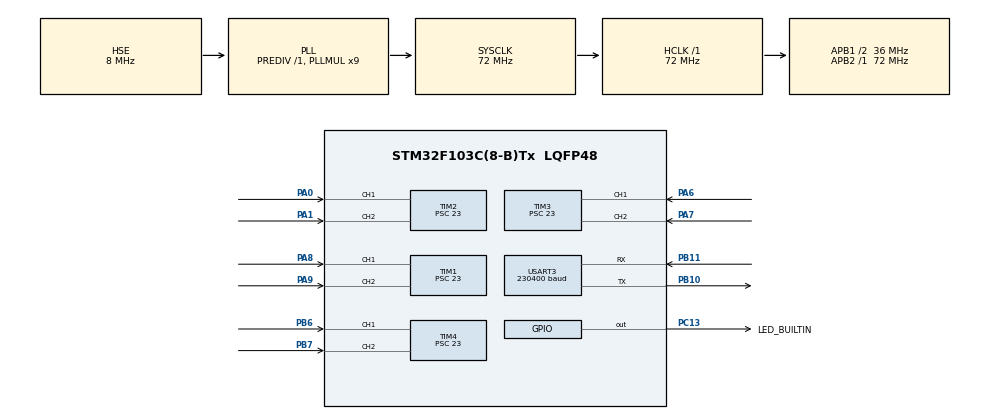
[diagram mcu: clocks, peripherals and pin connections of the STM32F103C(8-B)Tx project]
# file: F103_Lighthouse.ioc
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IWDG.Prescaler=IWDG_PRESCALER_64
IWDG.Reload=625
Mcu.Family=STM32F1
Mcu.Name=STM32F103C(8-B)Tx
Mcu.Package=LQFP48
NVIC.PriorityGroup=NVIC_PRIORITYGROUP_3
NVIC.TIM1_CC_IRQn=true\:1\:0\:true\:false\:false\:true
NVIC.TIM2_IRQn=true\:2\:0\:true\:false\:false\:true
NVIC.TIM3_IRQn=true\:3\:0\:true\:false\:false\:true
NVIC.TIM4_IRQn=true\:4\:0\:true\:false\:false\:true
NVIC.USART3_IRQn=true\:7\:1\:true\:false\:false\:true
PA0-WKUP.GPIO_PuPd=GPIO_PULLUP
PA0-WKUP.Signal=S_TIM2_CH1_ETR
PA1.GPIO_PuPd=GPIO_PULLUP
PA1.Signal=S_TIM2_CH2
PA13.Mode=Serial_Wire
PA13.Signal=SYS_JTMS-SWDIO
PA14.Mode=Serial_Wire
PA14.Signal=SYS_JTCK-SWCLK
PA6.GPIO_PuPd=GPIO_PULLUP
PA6.Signal=S_TIM3_CH1
PA7.GPIO_PuPd=GPIO_PULLUP
PA7.Signal=S_TIM3_CH2
PA8.GPIO_PuPd=GPIO_PULLUP
PA8.Signal=S_TIM1_CH1
PA9.GPIO_PuPd=GPIO_PULLUP
PA9.Signal=S_TIM1_CH2
PB10.Mode=Asynchronous
PB10.Signal=USART3_TX
PB11.Mode=Asynchronous
PB11.Signal=USART3_RX
PB6.GPIO_PuPd=GPIO_PULLUP
PB6.Signal=S_TIM4_CH1
PB7.GPIO_PuPd=GPIO_PULLUP
PB7.Signal=S_TIM4_CH2
PC13-TAMPER-RTC.GPIO_Label=LED_BUILTIN
PC13-TAMPER-RTC.GPIO_PuPd=GPIO_PULLUP
PC13-TAMPER-RTC.GPIO_Speed=GPIO_SPEED_FREQ_MEDIUM
PC13-TAMPER-RTC.PinState=GPIO_PIN_SET
PC13-TAMPER-RTC.Signal=GPIO_Output
PD0-OSC_IN.Mode=HSE-External-Oscillator
PD0-OSC_IN.Signal=RCC_OSC_IN
PD1-OSC_OUT.Mode=HSE-External-Oscillator
PD1-OSC_OUT.Signal=RCC_OSC_OUT
ProjectManager.HeapSize=0x200
ProjectManager.StackSize=0x400
ProjectManager.TargetToolchain=TrueSTUDIO
RCC.AHBFreq_Value=72000000
RCC.APB1CLKDivider=RCC_HCLK_DIV2
RCC.APB1Freq_Value=36000000
RCC.APB1TimFreq_Value=72000000
RCC.APB2Freq_Value=72000000
RCC.APB2TimFreq_Value=72000000
RCC.HCLKFreq_Value=72000000
RCC.PLLMUL=RCC_PLL_MUL9
RCC.PLLSourceVirtual=RCC_PLLSOURCE_HSE
RCC.SYSCLKFreq_VALUE=72000000
RCC.SYSCLKSource=RCC_SYSCLKSOURCE_PLLCLK
RCC.USBFreq_Value=48000000
RCC.USBPrescaler=RCC_USBCLKSOURCE_PLL_DIV1_5
SH.S_TIM1_CH1.0=TIM1_CH1,Input_Capture1_from_TI1
SH.S_TIM1_CH2.0=TIM1_CH2,Input_Capture2_from_TI2
SH.S_TIM2_CH1_ETR.0=TIM2_CH1,Input_Capture1_from_TI1
SH.S_TIM2_CH2.0=TIM2_CH2,Input_Capture2_from_TI2
SH.S_TIM3_CH1.0=TIM3_CH1,Input_Capture1_from_TI1
SH.S_TIM3_CH2.0=TIM3_CH2,Input_Capture2_from_TI2
SH.S_TIM4_CH1.0=TIM4_CH1,Input_Capture1_from_TI1
SH.S_TIM4_CH2.0=TIM4_CH2,Input_Capture2_from_TI2
TIM1.Channel-Input_Capture1_from_TI1=TIM_CHANNEL_1
TIM1.Channel-Input_Capture2_from_TI2=TIM_CHANNEL_2
TIM1.ICFilter_CH1=15
TIM1.ICFilter_CH2=15
TIM1.ICPolarity_CH1=TIM_INPUTCHANNELPOLARITY_FALLING
TIM1.Period=0xffff
TIM1.Prescaler=23
TIM2.Channel-Input_Capture1_from_TI1=TIM_CHANNEL_1
TIM2.Channel-Input_Capture2_from_TI2=TIM_CHANNEL_2
TIM2.ICFilter_CH1=15
TIM2.ICFilter_CH2=15
TIM2.ICPolarity_CH1=TIM_INPUTCHANNELPOLARITY_FALLING
TIM2.Period=0xFFFF
TIM2.Prescaler=23
TIM3.Channel-Input_Capture1_from_TI1=TIM_CHANNEL_1
TIM3.Channel-Input_Capture2_from_TI2=TIM_CHANNEL_2
TIM3.ICFilter_CH1=15
TIM3.ICFilter_CH2=15
TIM3.ICPolarity_CH1=TIM_INPUTCHANNELPOLARITY_FALLING
TIM3.Period=0xffff
TIM3.Prescaler=23
TIM4.Channel-Input_Capture1_from_TI1=TIM_CHANNEL_1
TIM4.Channel-Input_Capture2_from_TI2=TIM_CHANNEL_2
TIM4.ICFilter_CH1=15
TIM4.ICFilter_CH2=15
TIM4.ICPolarity_CH1=TIM_INPUTCHANNELPOLARITY_FALLING
TIM4.Period=0xffff
TIM4.Prescaler=23
USART3.BaudRate=230400
USART3.VirtualMode=VM_ASYNC
VP_IWDG_VS_IWDG.Mode=IWDG_Activate
VP_TIM1_VS_ClockSourceINT.Mode=Internal
VP_TIM2_VS_ClockSourceINT.Mode=Internal
VP_TIM3_VS_ClockSourceINT.Mode=Internal
VP_TIM4_VS_ClockSourceINT.Mode=Internal
board=custom

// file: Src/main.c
/**
 ******************************************************************************
 * @file           : main.c
 * @brief          : Main program body
 ******************************************************************************
 ** This notice applies to any and all portions of this file
 * that are not between comment pairs USER CODE BEGIN and
 * USER CODE END. Other portions of this file, whether
 * inserted by the user or by software development tools
 * are owned by their respective copyright owners.
 *
 * COPYRIGHT(c) 2019 STMicroelectronics
 *
 * Redistribution and use in source and binary forms, with or without modification,
 * are permitted provided that the following conditions are met:
 *   1. Redistributions of source code must retain the above copyright notice,
 *      this list of conditions and the following disclaimer.
 *   2. Redistributions in binary form must reproduce the above copyright notice,
 *      this list of conditions and the following disclaimer in the documentation
 *      and/or other materials provided with the distribution.
 *   3. Neither the name of STMicroelectronics nor the names of its contributors
 *      may be used to endorse or promote products derived from this software
 *      without specific prior written permission.
 *
 * THIS SOFTWARE IS PROVIDED BY THE COPYRIGHT HOLDERS AND CONTRIBUTORS "AS IS"
 * AND ANY EXPRESS OR IMPLIED WARRANTIES, INCLUDING, BUT NOT LIMITED TO, THE
 * IMPLIED WARRANTIES OF MERCHANTABILITY AND FITNESS FOR A PARTICULAR PURPOSE ARE
 * DISCLAIMED. IN NO EVENT SHALL THE COPYRIGHT HOLDER OR CONTRIBUTORS BE LIABLE
 * FOR ANY DIRECT, INDIRECT, INCIDENTAL, SPECIAL, EXEMPLARY, OR CONSEQUENTIAL
 * DAMAGES (INCLUDING, BUT NOT LIMITED TO, PROCUREMENT OF SUBSTITUTE GOODS OR
 * SERVICES; LOSS OF USE, DATA, OR PROFITS; OR BUSINESS INTERRUPTION) HOWEVER
 * CAUSED AND ON ANY THEORY OF LIABILITY, WHETHER IN CONTRACT, STRICT LIABILITY,
 * OR TORT (INCLUDING NEGLIGENCE OR OTHERWISE) ARISING IN ANY WAY OUT OF THE USE
 * OF THIS SOFTWARE, EVEN IF ADVISED OF THE POSSIBILITY OF SUCH DAMAGE.
 *
 ******************************************************************************
 */
#include "main.h"
#include "stm32f1xx_hal.h"

/* USER CODE BEGIN Includes */
#include <string.h>
#include <stdbool.h>
#include "stm_hal_serial.h"
#include "Lighthouse_Sensor.h"
/* USER CODE END Includes */

IWDG_HandleTypeDef hiwdg;

TIM_HandleTypeDef htim1;
TIM_HandleTypeDef htim2;
TIM_HandleTypeDef htim3;
TIM_HandleTypeDef htim4;

UART_HandleTypeDef huart3;

/* USER CODE BEGIN PV */
/* Private variables ---------------------------------------------------------*/
/* TODO Global Variables*/
#define DEBUG				1

#if DEBUG

#define UART_BUFSIZE	RING_BUFFER_SIZE
Ring_Buffer_t tx3Buffer = { { 0 }, 0, 0 };
Ring_Buffer_t rx3Buffer = { { 0 }, 0, 0 };
TSerial debug = { &rx3Buffer, &tx3Buffer, &huart3 };
char buf[UART_BUFSIZE];
uint16_t bufLen;
char vt100_home[10];
#define DEBUG_LINE_MAX		25
char vt100_lineX[DEBUG_LINE_MAX][16];

#endif	//if DEBUG

Sensor_t sensor[4];
volatile uint8_t sensor_pulse_detected[4];

/* USER CODE END PV */

void SystemClock_Config(void);
static void MX_GPIO_Init(void);
static void MX_USART3_UART_Init(void);
static void MX_TIM2_Init(void);
static void MX_TIM3_Init(void);
static void MX_TIM4_Init(void);
static void MX_IWDG_Init(void);
static void MX_TIM1_Init(void);

/* USER CODE BEGIN PFP */
/* Private function prototypes -----------------------------------------------*/
/* TODO Function Prototypes*/
void sensorHandler(Sensor_t *sensor);
/* USER CODE END PFP */

int main(void)
{

	/* MCU Configuration----------------------------------------------------------*/

	/* Reset of all peripherals, Initializes the Flash interface and the Systick. */
	HAL_Init();

	/* USER CODE BEGIN Init */
#if DEBUG
	sprintf(vt100_home, "\x1b[2J\x1b[H");
	unsigned char debugLine = 0;
	for ( debugLine = 0; debugLine < DEBUG_LINE_MAX; debugLine++ )
		sprintf(vt100_lineX[debugLine], "\x1b[%d;0H\x1b[2K", debugLine);
#endif	//if DEBUG

	/* USER CODE END Init */

	/* Configure the system clock */
	SystemClock_Config();

	/* Initialize all configured peripherals */
	MX_GPIO_Init();
	MX_USART3_UART_Init();
	MX_TIM2_Init();
	MX_TIM3_Init();
	MX_TIM4_Init();
	MX_IWDG_Init();
	MX_TIM1_Init();
	/* USER CODE BEGIN 2 */
	/* TODO Initialization*/
	HAL_IWDG_Init(&hiwdg);
	HAL_IWDG_Refresh(&hiwdg);

#if DEBUG
	bufLen = sprintf(buf, "%sF103 Lighthouse Firmware!\r\n=========================\r\n",
			vt100_home);
	serial_write_str(&debug, buf, bufLen);

	serial_init(&debug);
	HAL_Delay(500);
	HAL_IWDG_Refresh(&hiwdg);
	HAL_GPIO_WritePin(LED_BUILTIN_GPIO_Port, LED_BUILTIN_Pin, GPIO_PIN_RESET);

	serial_init(&debug);
#endif	//if DEBUG

	for ( int i = 0; i < 4; i++ ) {
		LSensor_begin(&sensor[i], i);
		sensor_pulse_detected[i] = 0;
	}

//	HAL_TIM_IC_Start_IT(&htim1, TIM_CHANNEL_1);
//	HAL_TIM_IC_Start_IT(&htim1, TIM_CHANNEL_2);
	HAL_TIM_IC_Start_IT(&htim2, TIM_CHANNEL_1);
	HAL_TIM_IC_Start_IT(&htim2, TIM_CHANNEL_2);
//	HAL_TIM_IC_Start_IT(&htim3, TIM_CHANNEL_1);
//	HAL_TIM_IC_Start_IT(&htim3, TIM_CHANNEL_2);
//	HAL_TIM_IC_Start_IT(&htim4, TIM_CHANNEL_1);
//	HAL_TIM_IC_Start_IT(&htim4, TIM_CHANNEL_2);

	/* USER CODE END 2 */

	/* Infinite loop */
	/* USER CODE BEGIN WHILE */
	uint32_t millis = 0;
	uint32_t timer = 0;

	while (1) {
		millis = HAL_GetTick();
		HAL_IWDG_Refresh(&hiwdg);
		/* USER CODE END WHILE */

		/* USER CODE BEGIN 3 */
		/* TODO BEGIN LOOP*/

		for ( int i = 0; i < 4; i++ )
			sensorHandler(&sensor[i]);

		if (millis >= timer) {
			timer = millis + 1000;

			if (HAL_GPIO_ReadPin(LED_BUILTIN_GPIO_Port, LED_BUILTIN_Pin) == GPIO_PIN_RESET)
				HAL_GPIO_WritePin(LED_BUILTIN_GPIO_Port, LED_BUILTIN_Pin, GPIO_PIN_SET);
			else
				HAL_GPIO_WritePin(LED_BUILTIN_GPIO_Port, LED_BUILTIN_Pin, GPIO_PIN_RESET);

			bufLen = sprintf(buf, "%s%d", vt100_lineX[3], sensor_pulse_detected[1]);
			serial_write_str(&debug, buf, bufLen);
		}
	}
	/* USER CODE END 3 */

}

void SystemClock_Config(void)
{

	RCC_OscInitTypeDef RCC_OscInitStruct;
	RCC_ClkInitTypeDef RCC_ClkInitStruct;

	/**Initializes the CPU, AHB and APB busses clocks
	 */
	RCC_OscInitStruct.OscillatorType = RCC_OSCILLATORTYPE_LSI | RCC_OSCILLATORTYPE_HSE;
	RCC_OscInitStruct.HSEState = RCC_HSE_ON;
	RCC_OscInitStruct.HSEPredivValue = RCC_HSE_PREDIV_DIV1;
	RCC_OscInitStruct.HSIState = RCC_HSI_ON;
	RCC_OscInitStruct.LSIState = RCC_LSI_ON;
	RCC_OscInitStruct.PLL.PLLState = RCC_PLL_ON;
	RCC_OscInitStruct.PLL.PLLSource = RCC_PLLSOURCE_HSE;
	RCC_OscInitStruct.PLL.PLLMUL = RCC_PLL_MUL9;
	if (HAL_RCC_OscConfig(&RCC_OscInitStruct) != HAL_OK) {
		_Error_Handler(__FILE__, __LINE__);
	}

	/**Initializes the CPU, AHB and APB busses clocks
	 */
	RCC_ClkInitStruct.ClockType = RCC_CLOCKTYPE_HCLK | RCC_CLOCKTYPE_SYSCLK | RCC_CLOCKTYPE_PCLK1
			| RCC_CLOCKTYPE_PCLK2;
	RCC_ClkInitStruct.SYSCLKSource = RCC_SYSCLKSOURCE_PLLCLK;
	RCC_ClkInitStruct.AHBCLKDivider = RCC_SYSCLK_DIV1;
	RCC_ClkInitStruct.APB1CLKDivider = RCC_HCLK_DIV2;
	RCC_ClkInitStruct.APB2CLKDivider = RCC_HCLK_DIV1;

	if (HAL_RCC_ClockConfig(&RCC_ClkInitStruct, FLASH_LATENCY_2) != HAL_OK) {
		_Error_Handler(__FILE__, __LINE__);
	}

	/**Configure the Systick interrupt time
	 */
	HAL_SYSTICK_Config(HAL_RCC_GetHCLKFreq() / 1000);

	/**Configure the Systick
	 */
	HAL_SYSTICK_CLKSourceConfig(SYSTICK_CLKSOURCE_HCLK);

	/* SysTick_IRQn interrupt configuration */
	HAL_NVIC_SetPriority(SysTick_IRQn, 0, 0);
}

/* IWDG init function */
static void MX_IWDG_Init(void)
{

	hiwdg.Instance = IWDG;
	hiwdg.Init.Prescaler = IWDG_PRESCALER_64;
	hiwdg.Init.Reload = 625;
	if (HAL_IWDG_Init(&hiwdg) != HAL_OK) {
		_Error_Handler(__FILE__, __LINE__);
	}

}

/* TIM1 init function */
static void MX_TIM1_Init(void)
{

	TIM_ClockConfigTypeDef sClockSourceConfig;
	TIM_MasterConfigTypeDef sMasterConfig;
	TIM_IC_InitTypeDef sConfigIC;

	htim1.Instance = TIM1;
	htim1.Init.Prescaler = 23;
	htim1.Init.CounterMode = TIM_COUNTERMODE_UP;
	htim1.Init.Period = 0xffff;
	htim1.Init.ClockDivision = TIM_CLOCKDIVISION_DIV1;
	htim1.Init.RepetitionCounter = 0;
	htim1.Init.AutoReloadPreload = TIM_AUTORELOAD_PRELOAD_DISABLE;
	if (HAL_TIM_Base_Init(&htim1) != HAL_OK) {
		_Error_Handler(__FILE__, __LINE__);
	}

	sClockSourceConfig.ClockSource = TIM_CLOCKSOURCE_INTERNAL;
	if (HAL_TIM_ConfigClockSource(&htim1, &sClockSourceConfig) != HAL_OK) {
		_Error_Handler(__FILE__, __LINE__);
	}

	if (HAL_TIM_IC_Init(&htim1) != HAL_OK) {
		_Error_Handler(__FILE__, __LINE__);
	}

	sMasterConfig.MasterOutputTrigger = TIM_TRGO_RESET;
	sMasterConfig.MasterSlaveMode = TIM_MASTERSLAVEMODE_DISABLE;
	if (HAL_TIMEx_MasterConfigSynchronization(&htim1, &sMasterConfig) != HAL_OK) {
		_Error_Handler(__FILE__, __LINE__);
	}

	sConfigIC.ICPolarity = TIM_INPUTCHANNELPOLARITY_FALLING;
	sConfigIC.ICSelection = TIM_ICSELECTION_DIRECTTI;
	sConfigIC.ICPrescaler = TIM_ICPSC_DIV1;
	sConfigIC.ICFilter = 15;
	if (HAL_TIM_IC_ConfigChannel(&htim1, &sConfigIC, TIM_CHANNEL_1) != HAL_OK) {
		_Error_Handler(__FILE__, __LINE__);
	}

	sConfigIC.ICPolarity = TIM_INPUTCHANNELPOLARITY_RISING;
	if (HAL_TIM_IC_ConfigChannel(&htim1, &sConfigIC, TIM_CHANNEL_2) != HAL_OK) {
		_Error_Handler(__FILE__, __LINE__);
	}

}

/* TIM2 init function */
static void MX_TIM2_Init(void)
{

	TIM_ClockConfigTypeDef sClockSourceConfig;
	TIM_MasterConfigTypeDef sMasterConfig;
	TIM_IC_InitTypeDef sConfigIC;

	htim2.Instance = TIM2;
	htim2.Init.Prescaler = 23;
	htim2.Init.CounterMode = TIM_COUNTERMODE_UP;
	htim2.Init.Period = 0xFFFF;
	htim2.Init.ClockDivision = TIM_CLOCKDIVISION_DIV1;
	htim2.Init.AutoReloadPreload = TIM_AUTORELOAD_PRELOAD_DISABLE;
	if (HAL_TIM_Base_Init(&htim2) != HAL_OK) {
		_Error_Handler(__FILE__, __LINE__);
	}

	sClockSourceConfig.ClockSource = TIM_CLOCKSOURCE_INTERNAL;
	if (HAL_TIM_ConfigClockSource(&htim2, &sClockSourceConfig) != HAL_OK) {
		_Error_Handler(__FILE__, __LINE__);
	}

	if (HAL_TIM_IC_Init(&htim2) != HAL_OK) {
		_Error_Handler(__FILE__, __LINE__);
	}

	sMasterConfig.MasterOutputTrigger = TIM_TRGO_RESET;
	sMasterConfig.MasterSlaveMode = TIM_MASTERSLAVEMODE_DISABLE;
	if (HAL_TIMEx_MasterConfigSynchronization(&htim2, &sMasterConfig) != HAL_OK) {
		_Error_Handler(__FILE__, __LINE__);
	}

	sConfigIC.ICPolarity = TIM_INPUTCHANNELPOLARITY_FALLING;
	sConfigIC.ICSelection = TIM_ICSELECTION_DIRECTTI;
	sConfigIC.ICPrescaler = TIM_ICPSC_DIV1;
	sConfigIC.ICFilter = 15;
	if (HAL_TIM_IC_ConfigChannel(&htim2, &sConfigIC, TIM_CHANNEL_1) != HAL_OK) {
		_Error_Handler(__FILE__, __LINE__);
	}

	sConfigIC.ICPolarity = TIM_INPUTCHANNELPOLARITY_RISING;
	if (HAL_TIM_IC_ConfigChannel(&htim2, &sConfigIC, TIM_CHANNEL_2) != HAL_OK) {
		_Error_Handler(__FILE__, __LINE__);
	}

}

/* TIM3 init function */
static void MX_TIM3_Init(void)
{

	TIM_ClockConfigTypeDef sClockSourceConfig;
	TIM_MasterConfigTypeDef sMasterConfig;
	TIM_IC_InitTypeDef sConfigIC;

	htim3.Instance = TIM3;
	htim3.Init.Prescaler = 23;
	htim3.Init.CounterMode = TIM_COUNTERMODE_UP;
	htim3.Init.Period = 0xffff;
	htim3.Init.ClockDivision = TIM_CLOCKDIVISION_DIV1;
	htim3.Init.AutoReloadPreload = TIM_AUTORELOAD_PRELOAD_DISABLE;
	if (HAL_TIM_Base_Init(&htim3) != HAL_OK) {
		_Error_Handler(__FILE__, __LINE__);
	}

	sClockSourceConfig.ClockSource = TIM_CLOCKSOURCE_INTERNAL;
	if (HAL_TIM_ConfigClockSource(&htim3, &sClockSourceConfig) != HAL_OK) {
		_Error_Handler(__FILE__, __LINE__);
	}

	if (HAL_TIM_IC_Init(&htim3) != HAL_OK) {
		_Error_Handler(__FILE__, __LINE__);
	}

	sMasterConfig.MasterOutputTrigger = TIM_TRGO_RESET;
	sMasterConfig.MasterSlaveMode = TIM_MASTERSLAVEMODE_DISABLE;
	if (HAL_TIMEx_MasterConfigSynchronization(&htim3, &sMasterConfig) != HAL_OK) {
		_Error_Handler(__FILE__, __LINE__);
	}

	sConfigIC.ICPolarity = TIM_INPUTCHANNELPOLARITY_FALLING;
	sConfigIC.ICSelection = TIM_ICSELECTION_DIRECTTI;
	sConfigIC.ICPrescaler = TIM_ICPSC_DIV1;
	sConfigIC.ICFilter = 15;
	if (HAL_TIM_IC_ConfigChannel(&htim3, &sConfigIC, TIM_CHANNEL_1) != HAL_OK) {
		_Error_Handler(__FILE__, __LINE__);
	}

	sConfigIC.ICPolarity = TIM_INPUTCHANNELPOLARITY_RISING;
	if (HAL_TIM_IC_ConfigChannel(&htim3, &sConfigIC, TIM_CHANNEL_2) != HAL_OK) {
		_Error_Handler(__FILE__, __LINE__);
	}

}

/* TIM4 init function */
static void MX_TIM4_Init(void)
{

	TIM_ClockConfigTypeDef sClockSourceConfig;
	TIM_MasterConfigTypeDef sMasterConfig;
	TIM_IC_InitTypeDef sConfigIC;

	htim4.Instance = TIM4;
	htim4.Init.Prescaler = 23;
	htim4.Init.CounterMode = TIM_COUNTERMODE_UP;
	htim4.Init.Period = 0xffff;
	htim4.Init.ClockDivision = TIM_CLOCKDIVISION_DIV1;
	htim4.Init.AutoReloadPreload = TIM_AUTORELOAD_PRELOAD_DISABLE;
	if (HAL_TIM_Base_Init(&htim4) != HAL_OK) {
		_Error_Handler(__FILE__, __LINE__);
	}

	sClockSourceConfig.ClockSource = TIM_CLOCKSOURCE_INTERNAL;
	if (HAL_TIM_ConfigClockSource(&htim4, &sClockSourceConfig) != HAL_OK) {
		_Error_Handler(__FILE__, __LINE__);
	}

	if (HAL_TIM_IC_Init(&htim4) != HAL_OK) {
		_Error_Handler(__FILE__, __LINE__);
	}

	sMasterConfig.MasterOutputTrigger = TIM_TRGO_RESET;
	sMasterConfig.MasterSlaveMode = TIM_MASTERSLAVEMODE_DISABLE;
	if (HAL_TIMEx_MasterConfigSynchronization(&htim4, &sMasterConfig) != HAL_OK) {
		_Error_Handler(__FILE__, __LINE__);
	}

	sConfigIC.ICPolarity = TIM_INPUTCHANNELPOLARITY_FALLING;
	sConfigIC.ICSelection = TIM_ICSELECTION_DIRECTTI;
	sConfigIC.ICPrescaler = TIM_ICPSC_DIV1;
	sConfigIC.ICFilter = 15;
	if (HAL_TIM_IC_ConfigChannel(&htim4, &sConfigIC, TIM_CHANNEL_1) != HAL_OK) {
		_Error_Handler(__FILE__, __LINE__);
	}

	sConfigIC.ICPolarity = TIM_INPUTCHANNELPOLARITY_RISING;
	if (HAL_TIM_IC_ConfigChannel(&htim4, &sConfigIC, TIM_CHANNEL_2) != HAL_OK) {
		_Error_Handler(__FILE__, __LINE__);
	}

}

/* USART3 init function */
static void MX_USART3_UART_Init(void)
{

	huart3.Instance = USART3;
	huart3.Init.BaudRate = 230400;
	huart3.Init.WordLength = UART_WORDLENGTH_8B;
	huart3.Init.StopBits = UART_STOPBITS_1;
	huart3.Init.Parity = UART_PARITY_NONE;
	huart3.Init.Mode = UART_MODE_TX_RX;
	huart3.Init.HwFlowCtl = UART_HWCONTROL_NONE;
	huart3.Init.OverSampling = UART_OVERSAMPLING_16;
	if (HAL_UART_Init(&huart3) != HAL_OK) {
		_Error_Handler(__FILE__, __LINE__);
	}

}

/** Configure pins as
 * Analog
 * Input
 * Output
 * EVENT_OUT
 * EXTI
 * Free pins are configured automatically as Analog (this feature is enabled through
 * the Code Generation settings)
 */
static void MX_GPIO_Init(void)
{

	GPIO_InitTypeDef GPIO_InitStruct;

	/* GPIO Ports Clock Enable */
	__HAL_RCC_GPIOC_CLK_ENABLE()
	;
	__HAL_RCC_GPIOD_CLK_ENABLE()
	;
	__HAL_RCC_GPIOA_CLK_ENABLE()
	;
	__HAL_RCC_GPIOB_CLK_ENABLE()
	;

	/*Configure GPIO pin Output Level */
	HAL_GPIO_WritePin(LED_BUILTIN_GPIO_Port, LED_BUILTIN_Pin, GPIO_PIN_SET);

	/*Configure GPIO pin : LED_BUILTIN_Pin */
	GPIO_InitStruct.Pin = LED_BUILTIN_Pin;
	GPIO_InitStruct.Mode = GPIO_MODE_OUTPUT_PP;
	GPIO_InitStruct.Pull = GPIO_PULLUP;
	GPIO_InitStruct.Speed = GPIO_SPEED_FREQ_MEDIUM;
	HAL_GPIO_Init(LED_BUILTIN_GPIO_Port, &GPIO_InitStruct);

	/*Configure GPIO pins : PC14 PC15 */
	GPIO_InitStruct.Pin = GPIO_PIN_14 | GPIO_PIN_15;
	GPIO_InitStruct.Mode = GPIO_MODE_ANALOG;
	HAL_GPIO_Init(GPIOC, &GPIO_InitStruct);

	/*Configure GPIO pins : PA2 PA3 PA4 PA5
	 PA10 PA11 PA12 PA15 */
	GPIO_InitStruct.Pin = GPIO_PIN_2 | GPIO_PIN_3 | GPIO_PIN_4 | GPIO_PIN_5 | GPIO_PIN_10
			| GPIO_PIN_11 | GPIO_PIN_12 | GPIO_PIN_15;
	GPIO_InitStruct.Mode = GPIO_MODE_ANALOG;
	HAL_GPIO_Init(GPIOA, &GPIO_InitStruct);

	/*Configure GPIO pins : PB0 PB1 PB2 PB12
	 PB13 PB14 PB15 PB3
	 PB4 PB5 PB8 PB9 */
	GPIO_InitStruct.Pin = GPIO_PIN_0 | GPIO_PIN_1 | GPIO_PIN_2 | GPIO_PIN_12 | GPIO_PIN_13
			| GPIO_PIN_14 | GPIO_PIN_15 | GPIO_PIN_3 | GPIO_PIN_4 | GPIO_PIN_5 | GPIO_PIN_8
			| GPIO_PIN_9;
	GPIO_InitStruct.Mode = GPIO_MODE_ANALOG;
	HAL_GPIO_Init(GPIOB, &GPIO_InitStruct);

}

/* USER CODE BEGIN 4 */
/* TODO Function Declarations*/
#if DEBUG
void USART3_IRQHandler(void)
{
	USARTx_IRQHandler(&debug);
}
#endif	//if DEBUG

void sensorHandler(Sensor_t *sensor)
{
	char *line = vt100_lineX[5 + sensor->instance];

	if (sensor_pulse_detected[sensor->instance] > 0) {
		__disable_irq();
		sensor_pulse_detected[sensor->instance]--;
		__enable_irq();

		int ind = LSensor_poll(sensor);
		if (ind > 0) {
			bufLen = sprintf(buf, "%s%d-%d\t%.3f %.3f %.3f %.3f", line, sensor->instance, ind,
					sensor->angles[0], sensor->angles[1], sensor->angles[2], sensor->angles[3]);
			serial_write_str(&debug, buf, bufLen);
		}

	}

}

//void TIM1_IRQHandler(void)
void TIM1_CC_IRQHandler(void)
{
	TIM_HandleTypeDef *htim = &htim1;
	uint16_t _timestamp = htim->Instance->CNT;
	Sensor_t *sen = &sensor[0];

	/* Capture compare 1 event */
	if (__HAL_TIM_GET_FLAG(htim, TIM_FLAG_CC1) != RESET) {
		if (__HAL_TIM_GET_IT_SOURCE(htim, TIM_IT_CC1) != RESET) {
			{
				__HAL_TIM_CLEAR_IT(htim, TIM_IT_CC1);
				/* Input capture event */
				LBuffer_write(&sen->icp_falling, _timestamp);
			}
		}
	}
	/* Capture compare 2 event */
	if (__HAL_TIM_GET_FLAG(htim, TIM_FLAG_CC2) != RESET) {
		if (__HAL_TIM_GET_IT_SOURCE(htim, TIM_IT_CC2) != RESET) {
			__HAL_TIM_CLEAR_IT(htim, TIM_IT_CC2);
			/* Input capture event */
			LBuffer_write(&sen->icp_rising, _timestamp);
			sensor_pulse_detected[0]++;
		}
	}
}

void TIM2_IRQHandler(void)
{
	TIM_HandleTypeDef *htim = &htim2;
	uint32_t isrflags = READ_REG(htim->Instance->SR);
	uint16_t _timestamp = htim->Instance->CNT;
	Sensor_t *sen = &sensor[1];

	/* Capture compare 1 event */
	if ((isrflags & TIM_FLAG_CC1) != RESET) {
		__HAL_TIM_CLEAR_IT(htim, TIM_IT_CC1);
		/* Input capture event */
		LBuffer_write(&sen->icp_falling, _timestamp);
	}
	/* Capture compare 2 event */
	if ((isrflags & TIM_FLAG_CC2) != RESET) {
		__HAL_TIM_CLEAR_IT(htim, TIM_IT_CC2);
		/* Input capture event */
		LBuffer_write(&sen->icp_rising, _timestamp);
		sensor_pulse_detected[1]++;
	}
}

void TIM3_IRQHandler(void)
{
	TIM_HandleTypeDef *htim = &htim3;
	uint32_t isrflags = READ_REG(htim->Instance->SR);
	uint16_t _timestamp = htim->Instance->CNT;
	Sensor_t *sen = &sensor[2];

	/* Capture compare 1 event */
	if ((isrflags & TIM_FLAG_CC1) != RESET) {
		__HAL_TIM_CLEAR_IT(htim, TIM_IT_CC1);
		/* Input capture event */
		LBuffer_write(&sen->icp_falling, _timestamp);
	}
	/* Capture compare 2 event */
	if ((isrflags & TIM_FLAG_CC2) != RESET) {
		__HAL_TIM_CLEAR_IT(htim, TIM_IT_CC2);
		/* Input capture event */
		LBuffer_write(&sen->icp_rising, _timestamp);
		sensor_pulse_detected[2]++;
	}
}

void TIM4_IRQHandler(void)
{
	TIM_HandleTypeDef *htim = &htim4;
	uint32_t isrflags = READ_REG(htim->Instance->SR);
	uint16_t _timestamp = htim->Instance->CNT;
	Sensor_t *sen = &sensor[3];

	/* Capture compare 1 event */
	if ((isrflags & TIM_FLAG_CC1) != RESET) {
		__HAL_TIM_CLEAR_IT(htim, TIM_IT_CC1);
		/* Input capture event */
		LBuffer_write(&sen->icp_falling, _timestamp);
	}
	/* Capture compare 2 event */
	if ((isrflags & TIM_FLAG_CC2) != RESET) {
		__HAL_TIM_CLEAR_IT(htim, TIM_IT_CC2);
		/* Input capture event */
		LBuffer_write(&sen->icp_rising, _timestamp);
		sensor_pulse_detected[3]++;
	}
}

/* TODO End of Function Declarations*/
/* USER CODE END 4 */

void _Error_Handler(char *file, int line)
{
	while (1) {
	}
}

/************************ (C) COPYRIGHT STMicroelectronics *****END OF FILE****/
